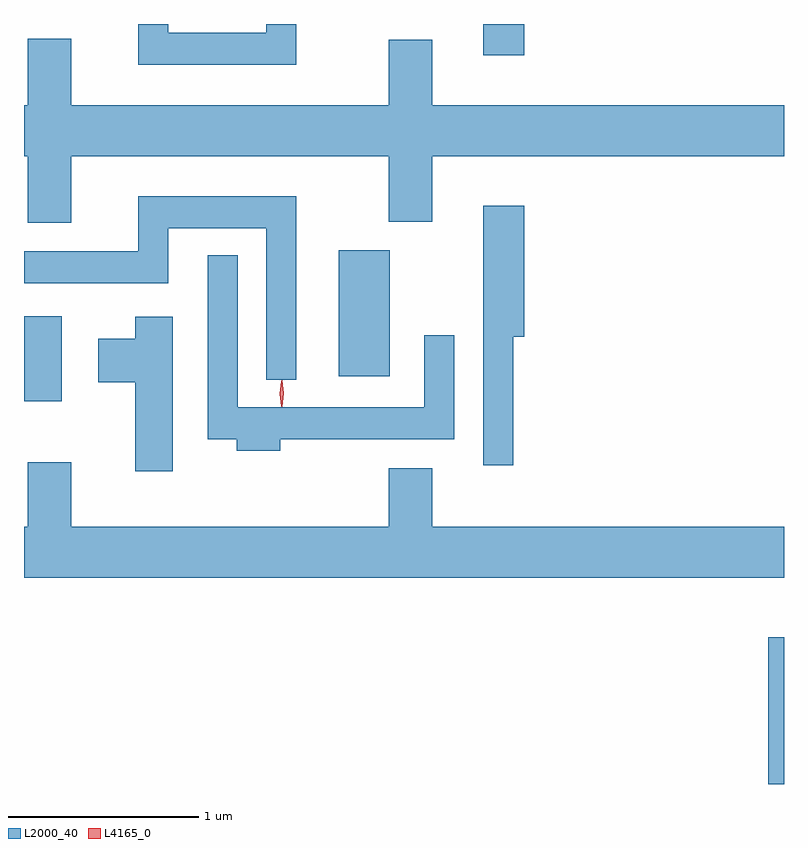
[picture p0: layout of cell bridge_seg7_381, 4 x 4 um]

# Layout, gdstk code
import gdstk
lib = gdstk.Library(unit=1e-6, precision=1e-09)
def R(c, l, rs):  # rectangles x0, y0, x1, y1
    for r in rs: c.add(gdstk.rectangle(r[:2], r[2:], *l))
def P(c, l, *ps):  # polygons
    for p in ps: c.add(gdstk.Polygon(p, *l))
L2000_40 = (2000, 40)
L4165_0 = (4165, 0)

bridge_seg7_381 = lib.new_cell('bridge_seg7_381')
R(bridge_seg7_381, L2000_40, [(1141.776,1737.651,1141.86,1738.424), (1137.86,1739.666,1138.059,1740.114), (1139.516,1739.796,1139.784,1740.459), (1140.276,1741.486,1140.494,1741.651)])
P(bridge_seg7_381, L2000_40, [(1139.294,1741.651),(1139.136,1741.651),(1139.136,1741.604),(1138.619,1741.604),(1138.619,1741.651),(1138.461,1741.651),(1138.461,1741.436),(1139.294,1741.436)],
  [(1138.109,1740.956),(1139.781,1740.956),(1139.781,1740.611),(1140.009,1740.611),(1140.009,1740.956),(1141.86,1740.956),(1141.86,1741.224),(1140.009,1741.224),(1140.009,1741.569),(1139.781,1741.569),(1139.781,1741.224),(1138.109,1741.224),(1138.109,1741.574),(1137.881,1741.574),(1137.881,1741.224),(1137.86,1741.224),(1137.86,1740.956),(1137.881,1740.956),(1137.881,1740.606),(1138.109,1740.606)],
  [(1139.294,1740.744),(1138.461,1740.744),(1138.461,1740.454),(1137.86,1740.454),(1137.86,1740.286),(1138.619,1740.286),(1138.619,1740.576),(1139.136,1740.576),(1139.136,1739.778),(1139.294,1739.778)],
  [(1140.434,1740.006),(1140.494,1740.006),(1140.494,1740.694),(1140.276,1740.694),(1140.276,1739.328),(1140.434,1739.328)],
  [(1139.209,1739.466),(1140.124,1739.466),(1140.124,1740.013),(1139.966,1740.013),(1139.966,1739.634),(1138.984,1739.634),(1138.984,1740.433),(1138.826,1740.433),(1138.826,1739.466),(1138.981,1739.466),(1138.981,1739.406),(1139.209,1739.406)],
  [(1138.644,1740.109),(1138.446,1740.109),(1138.446,1739.994),(1138.251,1739.994),(1138.251,1739.766),(1138.446,1739.766),(1138.446,1739.296),(1138.644,1739.296)],
  [(1141.86,1739.004),(1140.009,1739.004),(1140.009,1739.314),(1139.781,1739.314),(1139.781,1739.004),(1138.109,1739.004),(1138.109,1739.344),(1137.881,1739.344),(1137.881,1739.004),(1137.86,1739.004),(1137.86,1738.736),(1141.86,1738.736)])
P(bridge_seg7_381, L4165_0, [(1139.217,1739.637),(1139.217,1739.637),(1139.207,1739.707),(1139.217,1739.776),(1139.217,1739.776),(1139.218,1739.776),(1139.227,1739.707),(1139.218,1739.637)],
  [(1139.216,1739.639),(1139.215,1739.64),(1139.206,1739.706),(1139.215,1739.772),(1139.216,1739.773),(1139.216,1739.772),(1139.226,1739.706),(1139.216,1739.64)])

lib.write_gds('bridge_seg7_381.gds')
